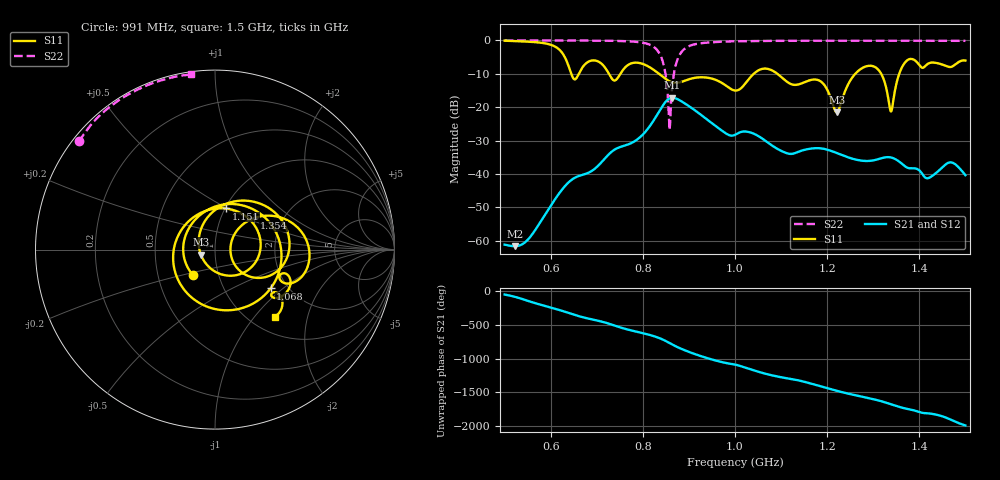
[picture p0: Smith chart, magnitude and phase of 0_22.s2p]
! TOUCHSTONE file generated by CST MICROWAVE STUDIO
! Date and time: Sat Oct 24 10:45:54 2020
! Project name: Scenario_1_Planar_Body_Tissue_Center.cst
! Parameters = {hfat=3; hmuscle=50; hskin=1.5; hgap=25; Wtissue=700; Ltissue=700; L_HA=400; MT=2.54; Rad_Dielectric=30; Rad_Lower=7.3; Rad_Upper=30; a_HA=580; a_WG=246; b_HA=500; b_WG=121; c_HA=0; c_WG=187; d_feed=85; dx1=536.72; h_feed=15; h_lower=18; h_upper=40}
! Header version: 2018
! Port assignment regex: !\s*Touchstone port\s*([0-9]+)\s*=\s*(CST MWS port|CST DS port)\s*([0-9]+|Zmin|Zmax)\s*\(\"(.*)\"\)(\s*mode\s*([0-9]+))?.*
! Touchstone port assignment:
! Touchstone port 1 = CST MWS port 1 ("")
! Touchstone port 2 = CST MWS port 2 ("")
# GHz S DB R 50
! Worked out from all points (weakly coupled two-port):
!   1003 points, 500 MHz to 1.5 GHz, reference 50 ohm
!   highest |S21| = -17.18 dB at 864 MHz (marker M1); lowest = -61.7 dB at 522 MHz (marker M2)
!   lowest |S11| = -21.6 dB at 1.221 GHz (marker M3), VSWR 1.18, Z = 42.6 - j2.35 ohm
!   |S11| at or under -10 dB: 835 MHz to 1.041 GHz (205.7 MHz wide, 21.9 % of centre); 1.092 GHz to 1.261 GHz (169.2 MHz wide, 14.4 % of centre); 1.317 GHz to 1.356 GHz (39.11 MHz wide, 2.93 % of centre) (the widest 3 of 5)
!   |S22| runs from -26.9 to 0.0 dB; largest |S21 - S12| = 6.2e-06
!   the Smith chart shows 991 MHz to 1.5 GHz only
!   S11 on the Smith chart (normalised r, x): 991 MHz: 0.75, -0.22; 1.068 GHz: 1.64, -0.83; 1.151 GHz: 1.01, +0.49; 1.354 GHz: 1.44, +0.55; 1.5 GHz: 1.28, -1.27
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0.5  -0.08 -122.1  -61.22 -54.9  -61.22 -54.9  -0.01 151.1
0.522  -0.19 -131.1  -61.68 -88.0  -61.68 -87.9  -0.01 149.7
0.625  -3.75 151.1  -44.66 64.1  -44.66 64.1  -0.02 142.1
0.667  -8.51 175.7  -40.38 -25.3  -40.38 -25.3  -0.04 138.4
0.708  -6.72 106.4  -36.85 -89.9  -36.85 -89.9  -0.08 133.9
0.732  -11.30 12.1  -33.40 -138.0  -33.40 -138.0  -0.12 130.5
0.778  -6.75 165.5  -30.56 130.1  -30.56 130.1  -0.34 120.8
0.834  -9.90 22.8  -21.62 27.2  -21.62 27.2  -3.45 84.1
0.864  -12.60 -82.2  -17.18 -73.1  -17.18 -73.1  -13.59 -135.6
0.898  -11.74 144.6  -19.51 -176.7  -19.51 -176.7  -1.85 169.9
0.945  -11.29 8.1  -24.30 75.7  -24.30 75.7  -0.59 149.9
0.991  -14.55 -131.3  -28.52 1.5  -28.52 1.5  -0.28 141.5
1  -15.02 -170.2  -28.31 -9.1  -28.31 -9.1  -0.26 140.1
1.068  -8.46 -35.0  -30.29 -147.7  -30.29 -147.7  -0.15 132.6
1.11  -12.09 -156.8  -33.68 151.6  -33.68 151.6  -0.12 128.8
1.151  -12.51 75.2  -32.79 96.1  -32.79 96.1  -0.10 125.5
1.167  -11.78 35.5  -32.39 66.8  -32.39 66.8  -0.09 124.2
1.221  -21.58 -160.9  -33.77 -37.1  -33.77 -37.1  -0.09 120.0
1.288  -7.65 16.4  -36.14 -141.2  -36.14 -141.2  -0.09 115.0
1.334  -18.55 -32.8  -35.00 134.9  -35.00 134.9  -0.08 111.5
1.354  -11.00 38.7  -36.10 90.8  -36.10 90.8  -0.09 110.0
1.5  -6.04 -48.4  -40.39 172.4  -40.39 172.4  -0.13 98.0
